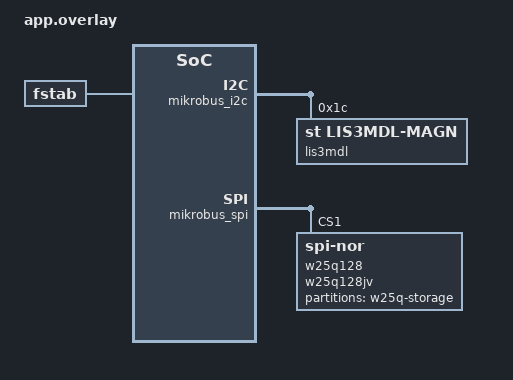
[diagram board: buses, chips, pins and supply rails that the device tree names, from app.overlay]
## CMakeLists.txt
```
cmake_minimum_required(VERSION 3.20.0)

set(BOARD "nucleo_f446re")

find_package(Zephyr)
project(nucleo_tests)
# FILE(GLOB app_sources src/*.c)
target_sources(app PRIVATE src/main.c)
```

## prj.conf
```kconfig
CONFIG_SERIAL=y
CONFIG_STDOUT_CONSOLE=y

CONFIG_I2C=y
CONFIG_SENSOR=y
CONFIG_LIS3MDL=y
CONFIG_LIS3MDL_ODR="1000"
CONFIG_CBPRINTF_FP_SUPPORT=y

CONFIG_SPI=y
CONFIG_FLASH=y
```

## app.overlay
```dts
#include "mikroe_click.overlay"

/ {
	aliases {
		magn = &lis3mdl;
		led = &shield_led; 
		storage = &w25q128;
		logfs = &lfs1;
	};

	fstab {
		compatible = "zephyr,fstab";
		lfs1: lfs1 {
			// most of this is taken from the defaults in this compatible's
			// binding
			compatible = "zephyr,fstab,littlefs";
			mount-point = "/lfs";
			partition = <&external_storage_partition>;
			automount;
			// automount causes trouble when we want to do things on startup,
			// leaving it off for now

			read-size = <16>;
			prog-size = <16>;
			cache-size = <64>;
			lookahead-size = <32>;
			block-cycles = <(90 * 1000)>; 
			// the datasheet gives 100K P-E cycles, I stay slightly under that
		};
	};
};

&mikrobus_i2c {
	lis3mdl: lis3mdl@1c {
		compatible = "st,lis3mdl-magn";
		reg = <0x1c>;
	};
};

&mikrobus_spi {
	w25q128: w25q128jv@1 {
		compatible = "jedec,spi-nor"; // conforms to JEDEC SFDP
		reg = <1>; // connected to to connector 1

		spi-max-frequency = <(10 * 1000 * 1000)>; // fR = 50 MHz (Table 9.6, p.65)
		size = <DT_SIZE_M(128)>; // w25q128 - 128 MBit (S 11, p.75) 
		jedec-id = [ef 40 18]; // 0xef4018 (Table 8.1.1, p.22)

		has-dpd;
		// described as Power-down 0xB9 (S 8.2.21)
		t-enter-dpd = <(3 * 1000)>; // tDP = 3 us (Table 9.6, p.66)
		// described as Release Power-own 0xAB (S 8.2.22)
		t-exit-dpd = <(3 * 1000)>; // tRES1 = 3 us (Table 9.6, p.66)

		partitions {
			compatible = "fixed-partitions";
			#address-cells = <1>;
			#size-cells = <1>;

			external_storage_partition: partition@0 {
				label = "w25q-storage";
				reg = <0 DT_SIZE_M(128)>;
			};
		};
	};
};

/* Fragment from Discovery 1475 board, which has several ST i2c sensors

&i2c2 {
	pinctrl-0 = <&i2c2_scl_pb10 &i2c2_sda_pb11>;
	pinctrl-names = "default";
	status = "okay";
	clock-frequency = <I2C_BITRATE_FAST>;

	lis3mdl-magn@1e {
		compatible = "st,lis3mdl-magn";
		reg = <0x1e>;
	};

	hts221@5f {
		compatible = "st,hts221";
		reg = <0x5f>;
		drdy-gpios = <&gpiod 15 GPIO_ACTIVE_HIGH>;
	};

	lps22hb-press@5d {
		compatible = "st,lps22hb-press";
		reg = <0x5d>;
	};

	lsm6dsl: lsm6dsl@6a {
		compatible = "st,lsm6dsl";
		reg = <0x6a>;
		irq-gpios = <&gpiod 11 GPIO_ACTIVE_HIGH>;
	};

	vl53l0x@29 {
		compatible = "st,vl53l0x";
		reg = <0x29>;
		xshut-gpios = <&gpioc 6 GPIO_ACTIVE_LOW>;
	};
};
*/


/* Fragment from Adafruit Feather STM32F405, cited by samples/drivers/flash 
&spi1 {
	pinctrl-0 = <&spi1_nss_pa15 &spi1_sck_pb3
		     &spi1_miso_pb4 &spi1_mosi_pb5>;
	pinctrl-names = "default";
	status = "okay";
	cs-gpios = <&gpioa 15 GPIO_ACTIVE_LOW>;
	gd25q16: gd25q16c@0 {
		compatible = "jedec,spi-nor";
		reg = <0>;
		spi-max-frequency = <80000000>;
		size = <0x200000>;
		has-dpd;
		t-enter-dpd = <20000>;
		t-exit-dpd = <100000>;
		jedec-id = [c8 40 15];
	};
};
*/
```

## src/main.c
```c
#include <zephyr/kernel.h>
#include <zephyr/device.h>
#include <zephyr/devicetree.h>

#include <zephyr/drivers/gpio.h>
#include <zephyr/drivers/sensor.h>
#include <zephyr/drivers/flash.h>
#include <zephyr/fs/fs.h>
#include <zephyr/logging/log.h>
// #include <zephyr/fs/littlefs.h>

// #include <string.h>
#include <stdio.h>

// node identifiers
// NOTE: Hardware prerequisites
// 	Launch Mikroe Click Shield
// 	LIS3MDL connected to shield i2c
// 	W25Q128JV breakout connected to port 1

// devicetree gets
#define LED_NODE DT_ALIAS(led)
#define MAG_NODE DT_ALIAS(magn)
#define FLASH_NODE DT_ALIAS(storage)

const struct gpio_dt_spec led = GPIO_DT_SPEC_GET(LED_NODE, gpios);
const struct device *const mag = DEVICE_DT_GET(MAG_NODE);
const struct device *const flash = DEVICE_DT_GET(FLASH_NODE);

// struct fs_mount_t* lfs_mount = &FS_FSTAB_ENTRY(FS_NODE);

/*
// START required for littlefs

FS_LITTLEFS_DECLARE_DEFAULT_CONFIG(lfsconfig);
static struct fs_mount_t storage_mnt = {
	.type = FS_LITTLEFS,
	.fs_data = &lfsconfig,
	.storage_dev = (void*) flash,
	.mnt_point = "/lfs",
};

char boot_counter_fname[] = "boot_count";
// END required for littlefs
int32_t setup_littlefs(bool erase_before_mount) {
int32_t ret;
if (erase_before_mount) {
LOG_PRINTK("Clearing flash device... ");
ret = flash_erase(flash, 0, DT_PROP(FLASH_NODE, size));
if (0 == ret) {
LOG_PRINTK("OK\n");
} else {
LOG_PRINTK("Failed : %d\n", ret);
return ret;
}
}

LOG_PRINTK("Mounting LittleFS at %s... ", storage_mnt.mnt_point);
ret = fs_mount(&storage_mnt);
if (0 == ret) {
LOG_PRINTK("OK\n");
} else {
LOG_PRINTK("Failed: %d\n", ret);
return ret;
}

return 0;
}
*/


int32_t increment_file_int32(char* fname, int32_t* count) {
	int32_t ret;
	int32_t close_ret;
	struct fs_file_t file;


	// prepare file for usage
	fs_file_t_init(&file);
	ret = fs_open(&file, fname, FS_O_CREATE | FS_O_RDWR);
	if (ret < 0) {
		LOG_PRINTK("Failed to open %s: %d\n", fname, ret);
		return ret;
	}

	// get the counter from the file
	ret = fs_read(&file, count, sizeof(*count));
	if (ret < 0) {
		LOG_PRINTK("Failed to read counter: %d\n", ret);
		goto exit;
	}
	LOG_PRINTK("Read counter: %d\n", *count);

	(*count)++;

	// go back to the start of the file
	ret = fs_seek(&file, 0, FS_SEEK_SET);
	if (ret < 0) {
		LOG_PRINTK("Failed to seek to start: %d\n", ret);
		goto exit;
	}

	// write the counter to the file
	ret = fs_write(&file, count, sizeof(*count));
	if (ret < 0) {
		LOG_PRINTK("Failed to write new count: %d\n", ret);
	}
	
exit:
	close_ret = fs_close(&file);
	if (close_ret < 0) {
		LOG_PRINTK("Failed to close %s: %d\n", fname, close_ret);
		return close_ret;
	}
	return ret;
}

int32_t read_mag(struct sensor_value* val) {
	int32_t ret = 0;

	ret = sensor_sample_fetch(mag);
	if (ret < 0) {
		LOG_PRINTK("Unable to fetch sensor sample: %d\n", ret);
		return ret;
	}

	ret = sensor_channel_get(mag, SENSOR_CHAN_MAGN_XYZ, val);
	if (ret < 0) {
		LOG_PRINTK("Unable to read sensor channel: %d\n", ret);
		return ret;
	}
	
	LOG_PRINTK("X: %f\tY: %f\tZ: %f\n", 
			sensor_value_to_double(val), 
			sensor_value_to_double(val + 1), 
			sensor_value_to_double(val + 2));

	return 0;
}

int main(void) {
	int32_t ret = 0;
	// struct sensor_value mag_field[3];

	int32_t boot_counter = -1;

	// Boilerplate: set up GPIO
	if (!gpio_is_ready_dt(&led)) {
		printf("GPIO is not ready\n");
		return 0;
	}

	if (gpio_pin_configure_dt(&led, GPIO_OUTPUT_ACTIVE) < 0) {
		printf("Unable to configure LED output pin\n");
		return 0;
	}

	if (!device_is_ready(mag)) {
		printf("Device %s is not ready\n", mag->name);
		return 0;
	}

#ifdef CONFIG_CLEAR_STORAGE_PARTITION
	if (!device_is_ready(flash)) {
		printf("Device %s is not ready\n", flash->name);
		return 0;
	}
	flash_erase(flash, 0, DT_PROP(FLASH_NODE, size));
#endif

	// gpio_pin_set_dt(&led, 1);
	/* 
	struct fs_statvfs sbuf;
	ret = fs_statvfs("/lfs", &sbuf);
	if (ret < 0) {
		LOG_PRINTK("FAIL: statvfs: %d\n", ret);
	} else {
		LOG_PRINTK("%s: bsize = %lu ; frsize = %lu ;"
				" blocks = %lu ; bfree = %lu\n",
				lfs_mount->mnt_point,
				sbuf.f_bsize, sbuf.f_frsize,
				sbuf.f_blocks, sbuf.f_bfree);
	}
	*/


	/*
	   gpio_pin_set_dt(&led, 1);
	   ret = setup_littlefs(false);
	   gpio_pin_set_dt(&led, 0);
	   if (ret != 0) {
	   return ret;
	   }
	*/

	ret = increment_file_int32("/lfs/boot_count", &boot_counter);
	if (ret >= 0) {
		LOG_PRINTK("Successfully read and updated boot counter: %d boots\n", boot_counter);
	} else {
		LOG_PRINTK("Failed to read file\n");
	}

	// forever
	while(1) {
		gpio_pin_toggle_dt(&led);
		// read_mag(mag_field);
		k_msleep(100);
	}
	return 0;
}
```
